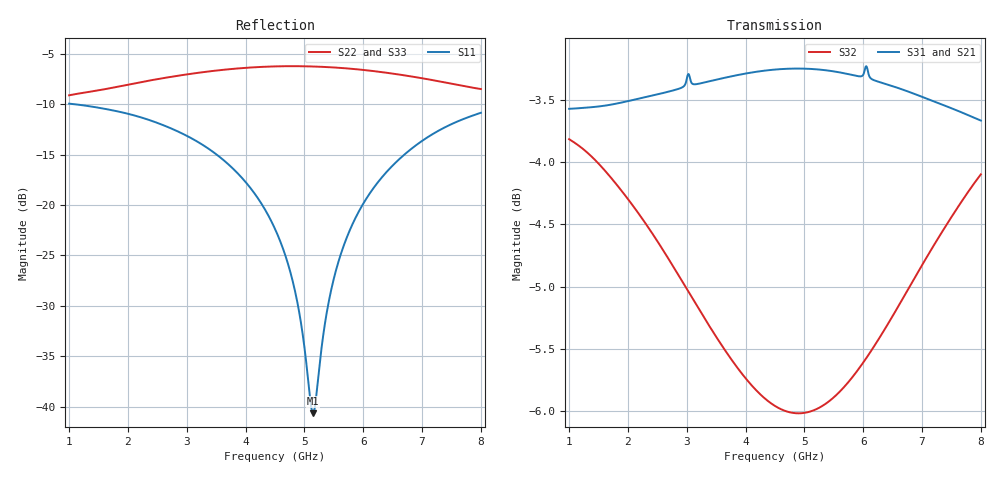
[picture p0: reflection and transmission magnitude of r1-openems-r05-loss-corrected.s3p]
! Order 0 openEMS r1 (r05), 43 um PEC copper, nominal FR408HR; loss-corrected (path [('arm', 9.2), ('line', 6.0)]) against openEMS's own 0.40 mm line
! 50 ohm, e^(+jwt)
# GHz S RI R 50
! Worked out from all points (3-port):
!   701 points, 1 GHz to 8 GHz, reference 50 ohm
!   strongest paths, dB at 1 GHz, 2.75 GHz, 4.5 GHz, 6.25 GHz, 8 GHz:
!     S31: -3.6, -3.4, -3.3, -3.4, -3.7
!     S21: -3.6, -3.4, -3.3, -3.4, -3.7
!     S32: -3.8, -4.8, -6.0, -5.4, -4.1
!   lowest |S11| = -40.7 dB at 5.15 GHz (marker M1), VSWR 1.02, Z = 50.9 + j0.00929 ohm
!   |S11| at or under -10 dB: 1.079 GHz to end of sweep
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1  -0.3081 0.0787  0.5819 -0.3205  0.5827 -0.3215
   0.5773 -0.3237  -0.3392 0.0854  0.5718 -0.2976
   0.5781 -0.3247  0.5718 -0.2976  -0.337 0.0849
3.02  -0.1439 0.1648  0.0193 -0.6842  0.0194 -0.6841
      0.0191 -0.6842  -0.2381 0.3758  0.1076 -0.5497
      0.0193 -0.6842  0.1076 -0.5497  -0.2383 0.3757
3.89  -0.0571 0.1291  -0.2864 -0.6211  -0.2864 -0.6211
      -0.2864 -0.6215  -0.0676 0.471  -0.0659 -0.5163
      -0.2863 -0.6215  -0.0659 -0.5163  -0.0676 0.471
4.5  -0.0117 0.0752  -0.4733 -0.4983  -0.4733 -0.4984
     -0.4733 -0.4987  0.0836 0.4793  -0.1607 -0.4772
     -0.4732 -0.4988  -0.1607 -0.4772  0.0835 0.4793
4.86  0.00402 0.035  -0.5613 -0.398  -0.5612 -0.3982
      -0.5613 -0.398  0.173 0.456  -0.2108 -0.4535
      -0.5613 -0.3982  -0.2108 -0.4535  0.1726 0.456
5.15  0.00928 9.12e-05  -0.6164 -0.3054  -0.6165 -0.3058
      -0.6164 -0.3049  0.2397 0.4227  -0.2503 -0.4344
      -0.6164 -0.3054  -0.2503 -0.4344  0.2391 0.4227
5.48  0.00677 -0.0403  -0.6597 -0.1905  -0.6599 -0.191
      -0.6594 -0.1898  0.3063 0.371  -0.2963 -0.4115
      -0.6596 -0.1903  -0.2963 -0.4115  0.3056 0.371
5.96  -0.013 -0.096  -0.6833 -0.0146  -0.6836 -0.0149
      -0.6828 -0.0137  0.3789 0.2758  -0.3677 -0.3713
      -0.6831 -0.014  -0.3677 -0.3713  0.3783 0.2757
6.82  -0.0882 -0.1684  -0.6088 0.2874  -0.6092 0.2874
      -0.6078 0.2879  0.4254 0.0847  -0.5023 -0.2566
      -0.6082 0.288  -0.5023 -0.2566  0.4248 0.0846
8  -0.2238 -0.179  -0.3207 0.573  -0.3208 0.5732
   -0.3189 0.5728  0.3567 -0.1176  -0.6236 0.023
   -0.319 0.573  -0.6236 0.023  0.3563 -0.1176
